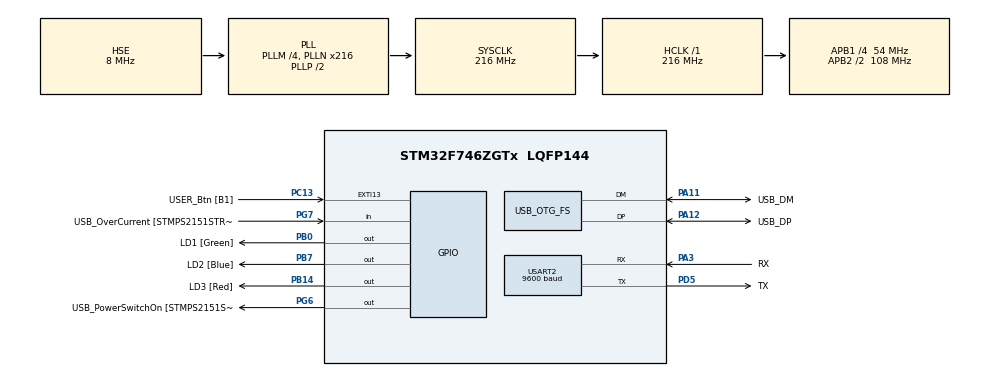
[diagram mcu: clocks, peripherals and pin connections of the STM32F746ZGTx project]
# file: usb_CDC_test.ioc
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Mcu.Family=STM32F7
Mcu.Name=STM32F746ZGTx
Mcu.Package=LQFP144
NVIC.OTG_FS_IRQn=true\:0\:0\:false\:false\:true\:false\:true
NVIC.PriorityGroup=NVIC_PRIORITYGROUP_4
PA1.GPIO_Label=RMII_REF_CLK [LAN8742A-CZ-TR_REFCLK0]
PA1.Signal=ETH_REF_CLK
PA10.GPIO_Label=USB_ID
PA10.Signal=USB_OTG_FS_ID
PA11.GPIO_Label=USB_DM
PA11.Mode=Device_Only
PA11.Signal=USB_OTG_FS_DM
PA12.GPIO_Label=USB_DP
PA12.Mode=Device_Only
PA12.Signal=USB_OTG_FS_DP
PA13.GPIO_Label=TMS
PA13.Signal=SYS_JTMS-SWDIO
PA14.GPIO_Label=TCK
PA14.Signal=SYS_JTCK-SWCLK
PA2.GPIO_Label=RMII_MDIO [LAN8742A-CZ-TR_MDIO]
PA2.Signal=ETH_MDIO
PA3.GPIO_Label=RX
PA3.Mode=Asynchronous
PA3.Signal=USART2_RX
PA7.GPIO_Label=RMII_CRS_DV [LAN8742A-CZ-TR_CRS_DV]
PA7.Signal=ETH_CRS_DV
PA8.GPIO_Label=USB_SOF [TP1]
PA8.Signal=USB_OTG_FS_SOF
PA9.GPIO_Label=USB_VBUS
PA9.Signal=USB_OTG_FS_VBUS
PB0.GPIO_Label=LD1 [Green]
PB0.Signal=GPIO_Output
PB13.GPIO_Label=RMII_TXD1 [LAN8742A-CZ-TR_TXD1]
PB13.Signal=ETH_TXD1
PB14.GPIO_Label=LD3 [Red]
PB14.Signal=GPIO_Output
PB3.GPIO_Label=SW0
PB3.Signal=SYS_JTDO-SWO
PB7.GPIO_Label=LD2 [Blue]
PB7.Signal=GPIO_Output
PC1.GPIO_Label=RMII_MDC [LAN8742A-CZ-TR_MDC]
PC1.Signal=ETH_MDC
PC13.GPIO_Label=USER_Btn [B1]
PC13.Signal=GPXTI13
PC14/OSC32_IN.Signal=RCC_OSC32_IN
PC15/OSC32_OUT.Signal=RCC_OSC32_OUT
PC4.GPIO_Label=RMII_RXD0 [LAN8742A-CZ-TR_RXD0]
PC4.Signal=ETH_RXD0
PC5.GPIO_Label=RMII_RXD1 [LAN8742A-CZ-TR_RXD1]
PC5.Signal=ETH_RXD1
PD5.GPIO_Label=TX
PD5.Mode=Asynchronous
PD5.Signal=USART2_TX
PD8.GPIO_Label=STLK_RX [STM32F103CBT6_PA3]
PD8.Signal=USART3_TX
PD9.GPIO_Label=STLK_TX [STM32F103CBT6_PA2]
PD9.Signal=USART3_RX
PG11.GPIO_Label=RMII_TX_EN [LAN8742A-CZ-TR_TXEN]
PG11.Signal=ETH_TX_EN
PG13.GPIO_Label=RMII_TXD0 [LAN8742A-CZ-TR_TXD0]
PG13.Signal=ETH_TXD0
PG6.GPIO_Label=USB_PowerSwitchOn [STMPS2151STR_EN]
PG6.Signal=GPIO_Output
PG7.GPIO_Label=USB_OverCurrent [STMPS2151STR_FAULT]
PG7.Signal=GPIO_Input
PH0/OSC_IN.GPIO_Label=MCO [STM32F103CBT6_PA8]
PH0/OSC_IN.Mode=HSE-External-Oscillator
PH0/OSC_IN.Signal=RCC_OSC_IN
PH1/OSC_OUT.Mode=HSE-External-Oscillator
PH1/OSC_OUT.Signal=RCC_OSC_OUT
ProjectManager.HeapSize=0x400
ProjectManager.StackSize=0x800
ProjectManager.TargetToolchain=MDK-ARM V5
RCC.48MHZClocksFreq_Value=24000000
RCC.AHBFreq_Value=216000000
RCC.APB1CLKDivider=RCC_HCLK_DIV4
RCC.APB1Freq_Value=54000000
RCC.APB1TimFreq_Value=108000000
RCC.APB2CLKDivider=RCC_HCLK_DIV2
RCC.APB2Freq_Value=108000000
RCC.APB2TimFreq_Value=216000000
RCC.CortexFreq_Value=216000000
RCC.HCLKFreq_Value=216000000
RCC.HSE_VALUE=8000000
RCC.HSI_VALUE=16000000
RCC.LSE_VALUE=32768
RCC.PLLM=4
RCC.PLLMUL=RCC_PLL_MUL9
RCC.PLLN=216
RCC.PLLQ=9
RCC.PRESCALERUSB=RCC_USBCLKSOURCE_PLL_DIV1_5
RCC.SYSCLKFreq_VALUE=216000000
RCC.SYSCLKSource=RCC_SYSCLKSOURCE_PLLCLK
RCC.SYSCLKSourceVirtual=RCC_SYSCLKSOURCE_PLLCLK
RCC.USBFreq_Value=48000000
RCC.VCOOutputFreq_Value=432000000
USART2.BaudRate=9600
USART2.OverSampling=UART_OVERSAMPLING_8
USART2.VirtualMode-Asynchronous=VM_ASYNC
USB_DEVICE.CLASS_NAME_FS=CDC
USB_DEVICE.VirtualMode-CDC_FS=Cdc
USB_DEVICE.VirtualModeFS=Cdc_FS
USB_OTG_FS.VirtualMode=Device_Only
VP_USB_DEVICE_VS_USB_DEVICE_CDC_FS.Mode=CDC_FS
board=NUCLEO-F746ZG

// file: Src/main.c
/* USER CODE BEGIN Header */
/**
  ******************************************************************************
  * @file           : main.c
  * @brief          : Main program body
  ******************************************************************************
  * @attention
  *
  * <h2><center>&copy; Copyright (c) 2019 STMicroelectronics.
  * All rights reserved.</center></h2>
  *
  * This software component is licensed by ST under Ultimate Liberty license
  * SLA0044, the "License"; You may not use this file except in compliance with
  * the License. You may obtain a copy of the License at:
  *                             www.st.com/SLA0044
  *
  ******************************************************************************
  */
/* USER CODE END Header */

#include "main.h"
#include "usb_device.h"

/* USER CODE BEGIN Includes */

#include "usbd_cdc_if.h"
#include <stdio.h>
#include <stdarg.h>
#include <string.h>

/* USER CODE END Includes */

UART_HandleTypeDef huart2;

/* USER CODE BEGIN PV */

//buffer to send
const uint16_t bufLen = 512;
const uint16_t dataLen = 500;
uint8_t buf[bufLen];

//usb send result
uint8_t transmitResult;

/* USER CODE END PV */

void SystemClock_Config(void);
static void MX_GPIO_Init(void);
static void MX_USART2_UART_Init(void);
/* USER CODE BEGIN PFP */

void vprint(const char *fmt, va_list argp);
void my_printf(const char *fmt, ...);

/* USER CODE END PFP */

int main(void)
{

  /* MCU Configuration--------------------------------------------------------*/

  /* Reset of all peripherals, Initializes the Flash interface and the Systick. */
  HAL_Init();

  /* Configure the system clock */
  SystemClock_Config();

  /* Initialize all configured peripherals */
  MX_GPIO_Init();
  MX_USB_DEVICE_Init();
  MX_USART2_UART_Init();
  /* USER CODE BEGIN 2 */

	//set buffer 12 bytes of a and 500 bytes of b
	for (uint16_t i = 0; i < (bufLen - dataLen); i ++) {
		buf[i] = 'a';
	}
	for (uint16_t i = 12; i < bufLen; i++) {
		buf[i] = 'b';
	}

  /* USER CODE END 2 */

  /* Infinite loop */
  while (1)
  {

    /* USER CODE BEGIN 3 */

		//get current time, reset counter
		uint32_t startTime = uwTick;
		uint16_t counter = 0;

		//run for a second
		while ((uwTick - startTime) < 1000) {

			//keep transmitting until successful, then inc counter
			while (CDC_Transmit_FS(buf, bufLen) != USBD_OK){}
			counter++;
		}

		//send out counter through usart
		my_printf("counter val: %u \r\n", counter);

  }
  /* USER CODE END 3 */
}

void SystemClock_Config(void)
{
  RCC_OscInitTypeDef RCC_OscInitStruct = {0};
  RCC_ClkInitTypeDef RCC_ClkInitStruct = {0};
  RCC_PeriphCLKInitTypeDef PeriphClkInitStruct = {0};

  /** Configure the main internal regulator output voltage
  */
  __HAL_RCC_PWR_CLK_ENABLE();
  __HAL_PWR_VOLTAGESCALING_CONFIG(PWR_REGULATOR_VOLTAGE_SCALE1);
  /** Initializes the CPU, AHB and APB busses clocks
  */
  RCC_OscInitStruct.OscillatorType = RCC_OSCILLATORTYPE_HSE;
  RCC_OscInitStruct.HSEState = RCC_HSE_ON;
  RCC_OscInitStruct.PLL.PLLState = RCC_PLL_ON;
  RCC_OscInitStruct.PLL.PLLSource = RCC_PLLSOURCE_HSE;
  RCC_OscInitStruct.PLL.PLLM = 4;
  RCC_OscInitStruct.PLL.PLLN = 216;
  RCC_OscInitStruct.PLL.PLLP = RCC_PLLP_DIV2;
  RCC_OscInitStruct.PLL.PLLQ = 9;
  if (HAL_RCC_OscConfig(&RCC_OscInitStruct) != HAL_OK)
  {
    Error_Handler();
  }
  /** Activate the Over-Drive mode
  */
  if (HAL_PWREx_EnableOverDrive() != HAL_OK)
  {
    Error_Handler();
  }
  /** Initializes the CPU, AHB and APB busses clocks
  */
  RCC_ClkInitStruct.ClockType = RCC_CLOCKTYPE_HCLK|RCC_CLOCKTYPE_SYSCLK
                              |RCC_CLOCKTYPE_PCLK1|RCC_CLOCKTYPE_PCLK2;
  RCC_ClkInitStruct.SYSCLKSource = RCC_SYSCLKSOURCE_PLLCLK;
  RCC_ClkInitStruct.AHBCLKDivider = RCC_SYSCLK_DIV1;
  RCC_ClkInitStruct.APB1CLKDivider = RCC_HCLK_DIV4;
  RCC_ClkInitStruct.APB2CLKDivider = RCC_HCLK_DIV2;

  if (HAL_RCC_ClockConfig(&RCC_ClkInitStruct, FLASH_LATENCY_7) != HAL_OK)
  {
    Error_Handler();
  }
  PeriphClkInitStruct.PeriphClockSelection = RCC_PERIPHCLK_USART2|RCC_PERIPHCLK_CLK48;
  PeriphClkInitStruct.Usart2ClockSelection = RCC_USART2CLKSOURCE_PCLK1;
  PeriphClkInitStruct.Clk48ClockSelection = RCC_CLK48SOURCE_PLL;
  if (HAL_RCCEx_PeriphCLKConfig(&PeriphClkInitStruct) != HAL_OK)
  {
    Error_Handler();
  }
}

static void MX_USART2_UART_Init(void)
{

  huart2.Instance = USART2;
  huart2.Init.BaudRate = 9600;
  huart2.Init.WordLength = UART_WORDLENGTH_8B;
  huart2.Init.StopBits = UART_STOPBITS_1;
  huart2.Init.Parity = UART_PARITY_NONE;
  huart2.Init.Mode = UART_MODE_TX_RX;
  huart2.Init.HwFlowCtl = UART_HWCONTROL_NONE;
  huart2.Init.OverSampling = UART_OVERSAMPLING_16;
  huart2.Init.OneBitSampling = UART_ONE_BIT_SAMPLE_DISABLE;
  huart2.AdvancedInit.AdvFeatureInit = UART_ADVFEATURE_NO_INIT;
  if (HAL_UART_Init(&huart2) != HAL_OK)
  {
    Error_Handler();
  }

}

static void MX_GPIO_Init(void)
{
  GPIO_InitTypeDef GPIO_InitStruct = {0};

  /* GPIO Ports Clock Enable */
  __HAL_RCC_GPIOC_CLK_ENABLE();
  __HAL_RCC_GPIOH_CLK_ENABLE();
  __HAL_RCC_GPIOA_CLK_ENABLE();
  __HAL_RCC_GPIOB_CLK_ENABLE();
  __HAL_RCC_GPIOD_CLK_ENABLE();
  __HAL_RCC_GPIOG_CLK_ENABLE();

  /*Configure GPIO pin Output Level */
  HAL_GPIO_WritePin(GPIOB, LD1_Pin|LD3_Pin|LD2_Pin, GPIO_PIN_RESET);

  /*Configure GPIO pin Output Level */
  HAL_GPIO_WritePin(USB_PowerSwitchOn_GPIO_Port, USB_PowerSwitchOn_Pin, GPIO_PIN_RESET);

  /*Configure GPIO pin : USER_Btn_Pin */
  GPIO_InitStruct.Pin = USER_Btn_Pin;
  GPIO_InitStruct.Mode = GPIO_MODE_IT_RISING;
  GPIO_InitStruct.Pull = GPIO_NOPULL;
  HAL_GPIO_Init(USER_Btn_GPIO_Port, &GPIO_InitStruct);

  /*Configure GPIO pins : RMII_MDC_Pin RMII_RXD0_Pin RMII_RXD1_Pin */
  GPIO_InitStruct.Pin = RMII_MDC_Pin|RMII_RXD0_Pin|RMII_RXD1_Pin;
  GPIO_InitStruct.Mode = GPIO_MODE_AF_PP;
  GPIO_InitStruct.Pull = GPIO_NOPULL;
  GPIO_InitStruct.Speed = GPIO_SPEED_FREQ_VERY_HIGH;
  GPIO_InitStruct.Alternate = GPIO_AF11_ETH;
  HAL_GPIO_Init(GPIOC, &GPIO_InitStruct);

  /*Configure GPIO pins : RMII_REF_CLK_Pin RMII_MDIO_Pin RMII_CRS_DV_Pin */
  GPIO_InitStruct.Pin = RMII_REF_CLK_Pin|RMII_MDIO_Pin|RMII_CRS_DV_Pin;
  GPIO_InitStruct.Mode = GPIO_MODE_AF_PP;
  GPIO_InitStruct.Pull = GPIO_NOPULL;
  GPIO_InitStruct.Speed = GPIO_SPEED_FREQ_VERY_HIGH;
  GPIO_InitStruct.Alternate = GPIO_AF11_ETH;
  HAL_GPIO_Init(GPIOA, &GPIO_InitStruct);

  /*Configure GPIO pins : LD1_Pin LD3_Pin LD2_Pin */
  GPIO_InitStruct.Pin = LD1_Pin|LD3_Pin|LD2_Pin;
  GPIO_InitStruct.Mode = GPIO_MODE_OUTPUT_PP;
  GPIO_InitStruct.Pull = GPIO_NOPULL;
  GPIO_InitStruct.Speed = GPIO_SPEED_FREQ_LOW;
  HAL_GPIO_Init(GPIOB, &GPIO_InitStruct);

  /*Configure GPIO pin : RMII_TXD1_Pin */
  GPIO_InitStruct.Pin = RMII_TXD1_Pin;
  GPIO_InitStruct.Mode = GPIO_MODE_AF_PP;
  GPIO_InitStruct.Pull = GPIO_NOPULL;
  GPIO_InitStruct.Speed = GPIO_SPEED_FREQ_VERY_HIGH;
  GPIO_InitStruct.Alternate = GPIO_AF11_ETH;
  HAL_GPIO_Init(RMII_TXD1_GPIO_Port, &GPIO_InitStruct);

  /*Configure GPIO pins : STLK_RX_Pin STLK_TX_Pin */
  GPIO_InitStruct.Pin = STLK_RX_Pin|STLK_TX_Pin;
  GPIO_InitStruct.Mode = GPIO_MODE_AF_PP;
  GPIO_InitStruct.Pull = GPIO_NOPULL;
  GPIO_InitStruct.Speed = GPIO_SPEED_FREQ_VERY_HIGH;
  GPIO_InitStruct.Alternate = GPIO_AF7_USART3;
  HAL_GPIO_Init(GPIOD, &GPIO_InitStruct);

  /*Configure GPIO pin : USB_PowerSwitchOn_Pin */
  GPIO_InitStruct.Pin = USB_PowerSwitchOn_Pin;
  GPIO_InitStruct.Mode = GPIO_MODE_OUTPUT_PP;
  GPIO_InitStruct.Pull = GPIO_NOPULL;
  GPIO_InitStruct.Speed = GPIO_SPEED_FREQ_LOW;
  HAL_GPIO_Init(USB_PowerSwitchOn_GPIO_Port, &GPIO_InitStruct);

  /*Configure GPIO pin : USB_OverCurrent_Pin */
  GPIO_InitStruct.Pin = USB_OverCurrent_Pin;
  GPIO_InitStruct.Mode = GPIO_MODE_INPUT;
  GPIO_InitStruct.Pull = GPIO_NOPULL;
  HAL_GPIO_Init(USB_OverCurrent_GPIO_Port, &GPIO_InitStruct);

  /*Configure GPIO pins : RMII_TX_EN_Pin RMII_TXD0_Pin */
  GPIO_InitStruct.Pin = RMII_TX_EN_Pin|RMII_TXD0_Pin;
  GPIO_InitStruct.Mode = GPIO_MODE_AF_PP;
  GPIO_InitStruct.Pull = GPIO_NOPULL;
  GPIO_InitStruct.Speed = GPIO_SPEED_FREQ_VERY_HIGH;
  GPIO_InitStruct.Alternate = GPIO_AF11_ETH;
  HAL_GPIO_Init(GPIOG, &GPIO_InitStruct);

}

/* USER CODE BEGIN 4 */

//print functions
void vprint(const char *fmt, va_list argp)
{
    char string[200];
    if(0 < vsprintf(string,fmt,argp)) // build string
    {
        HAL_UART_Transmit(&huart2, (uint8_t*)string, strlen(string), 0xffffff); // send message via UART
    }
}

void my_printf(const char *fmt, ...) // custom printf() function
{
    va_list argp;
    va_start(argp, fmt);
    vprint(fmt, argp);
    va_end(argp);
}

/* USER CODE END 4 */

void Error_Handler(void)
{
}

/************************ (C) COPYRIGHT STMicroelectronics *****END OF FILE****/
